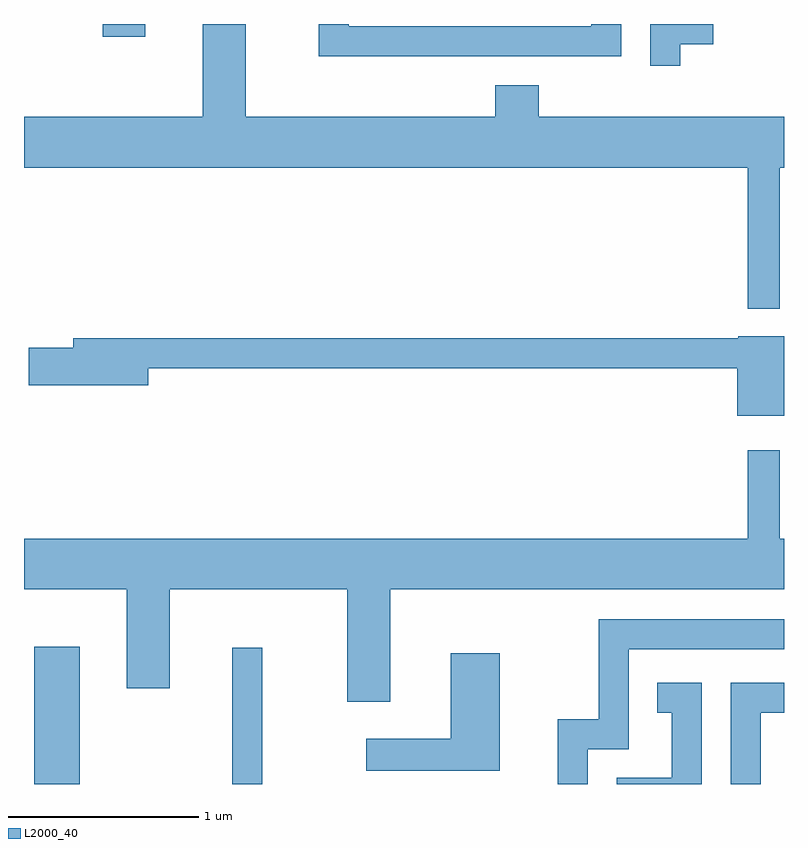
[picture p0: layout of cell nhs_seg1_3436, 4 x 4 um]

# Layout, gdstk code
import gdstk
lib = gdstk.Library(unit=1e-6, precision=1e-09)
def R(c, l, rs):  # rectangles x0, y0, x1, y1
    for r in rs: c.add(gdstk.rectangle(r[:2], r[2:], *l))
def P(c, l, *ps):  # polygons
    for p in ps: c.add(gdstk.Polygon(p, *l))
L2000_40 = (2000, 40)

nhs_seg1_3436 = lib.new_cell('nhs_seg1_3436')
R(nhs_seg1_3436, L2000_40, [(289.666,849.712,289.904,850.434), (290.706,849.712,290.864,850.428), (290.026,853.646,290.249,853.712)])
P(nhs_seg1_3436, L2000_40, [(293.589,852.956),(293.611,852.956),(293.611,853.224),(292.319,853.224),(292.319,853.389),(292.091,853.389),(292.091,853.224),(290.779,853.224),(290.779,853.712),(290.551,853.712),(290.551,853.224),(289.611,853.224),(289.611,852.956),(293.421,852.956),(293.421,852.213),(293.589,852.213)],
  [(293.064,853.606),(293.239,853.606),(293.239,853.712),(292.906,853.712),(292.906,853.493),(293.064,853.493)],
  [(292.754,853.712),(292.596,853.712),(292.596,853.699),(291.319,853.699),(291.319,853.712),(291.161,853.712),(291.161,853.541),(292.754,853.541)],
  [(293.611,852.069),(293.37,852.069),(293.37,852.059),(289.871,852.059),(289.871,852.009),(289.636,852.009),(289.636,851.811),(290.264,851.811),(290.264,851.901),(293.366,851.901),(293.366,851.651),(293.611,851.651)],
  [(291.539,850.736),(293.611,850.736),(293.611,851.004),(293.589,851.004),(293.589,851.468),(293.421,851.468),(293.421,851.004),(289.611,851.004),(289.611,850.736),(290.151,850.736),(290.151,850.216),(290.379,850.216),(290.379,850.736),(291.311,850.736),(291.311,850.146),(291.539,850.146)],
  [(292.579,849.896),(292.794,849.896),(292.794,850.421),(293.611,850.421),(293.611,850.579),(292.636,850.579),(292.636,850.054),(292.421,850.054),(292.421,849.712),(292.579,849.712)],
  [(292.114,850.399),(291.856,850.399),(291.856,849.949),(291.413,849.949),(291.413,849.781),(292.114,849.781)],
  [(293.489,850.086),(293.611,850.086),(293.611,850.244),(293.331,850.244),(293.331,849.712),(293.489,849.712)],
  [(293.179,850.244),(292.943,850.244),(292.943,850.086),(293.021,850.086),(293.021,849.744),(292.731,849.744),(292.731,849.712),(293.179,849.712)])

lib.write_gds('nhs_seg1_3436.gds')
